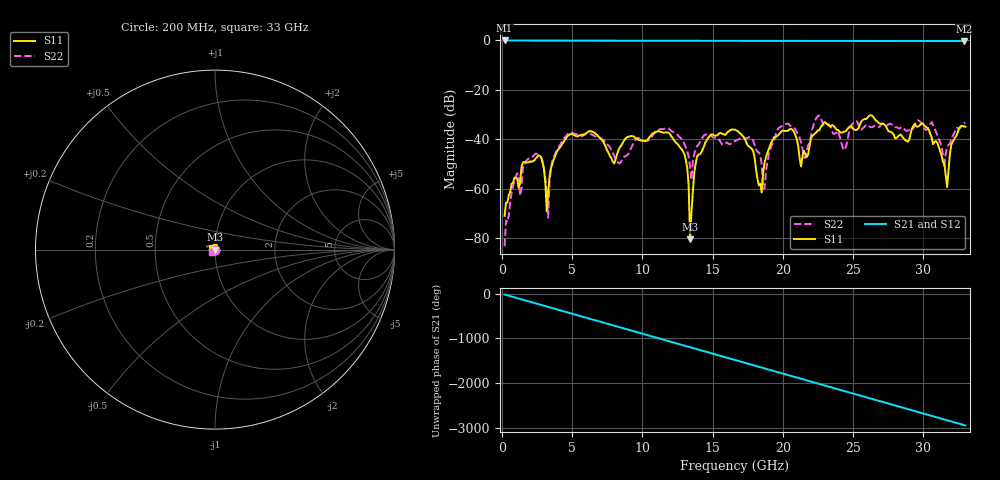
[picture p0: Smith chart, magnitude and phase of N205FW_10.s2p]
# GHZ S RI R 50
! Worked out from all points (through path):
!   329 points, 200 MHz to 33 GHz, reference 50 ohm
!   highest |S21| = -0.02 dB at 200 MHz (marker M1); lowest = -0.3 dB at 32.9 GHz (marker M2)
!   group delay of S21, straight-line fit = 248 ps
!   lowest |S11| = -80.4 dB at 13.4 GHz (marker M3), VSWR 1.00, Z = 50 + j0.000565 ohm
!   |S11| at or under -10 dB: start of sweep to end of sweep
!   |S22| runs from -83.2 to -30.4 dB; largest |S21 - S12| = 0.0022
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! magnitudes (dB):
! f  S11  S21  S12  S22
! 200 MHz  -71.0  0.0  0.0  -83.2
! 1.6 GHz  -49.2  -0.1  -0.1  -49.6
! 2.8 GHz  -47.2  -0.1  -0.1  -47.3
! 3.3 GHz  -61.4  -0.1  -0.1  -71.7
! 3.7 GHz  -48.1  -0.1  -0.1  -47.2
! 5.7 GHz  -38.2  -0.1  -0.1  -38.7
! 8.4 GHz  -43.2  -0.1  -0.1  -49.8
! 11.2 GHz  -36.8  -0.1  -0.1  -36.0
! 13 GHz  -46.0  -0.2  -0.2  -41.9
! 13.3 GHz  -58.6  -0.2  -0.2  -46.9
! 13.4 GHz  -80.4  -0.2  -0.2  -51.0
! 13.9 GHz  -46.9  -0.2  -0.2  -42.7
! 16.6 GHz  -36.1  -0.2  -0.2  -40.8
! 18.5 GHz  -61.5  -0.2  -0.2  -50.2
! 19.4 GHz  -39.1  -0.2  -0.2  -40.2
! 21.3 GHz  -51.0  -0.2  -0.2  -41.3
! 22.1 GHz  -38.6  -0.2  -0.2  -36.1
! 27.6 GHz  -36.9  -0.2  -0.2  -33.7
! 30.3 GHz  -35.4  -0.2  -0.2  -35.9
! 31.7 GHz  -59.3  -0.3  -0.3  -43.1
! 32.9 GHz  -34.8  -0.3  -0.3  -33.4
! 33 GHz  -34.9  -0.3  -0.3  -33.3
